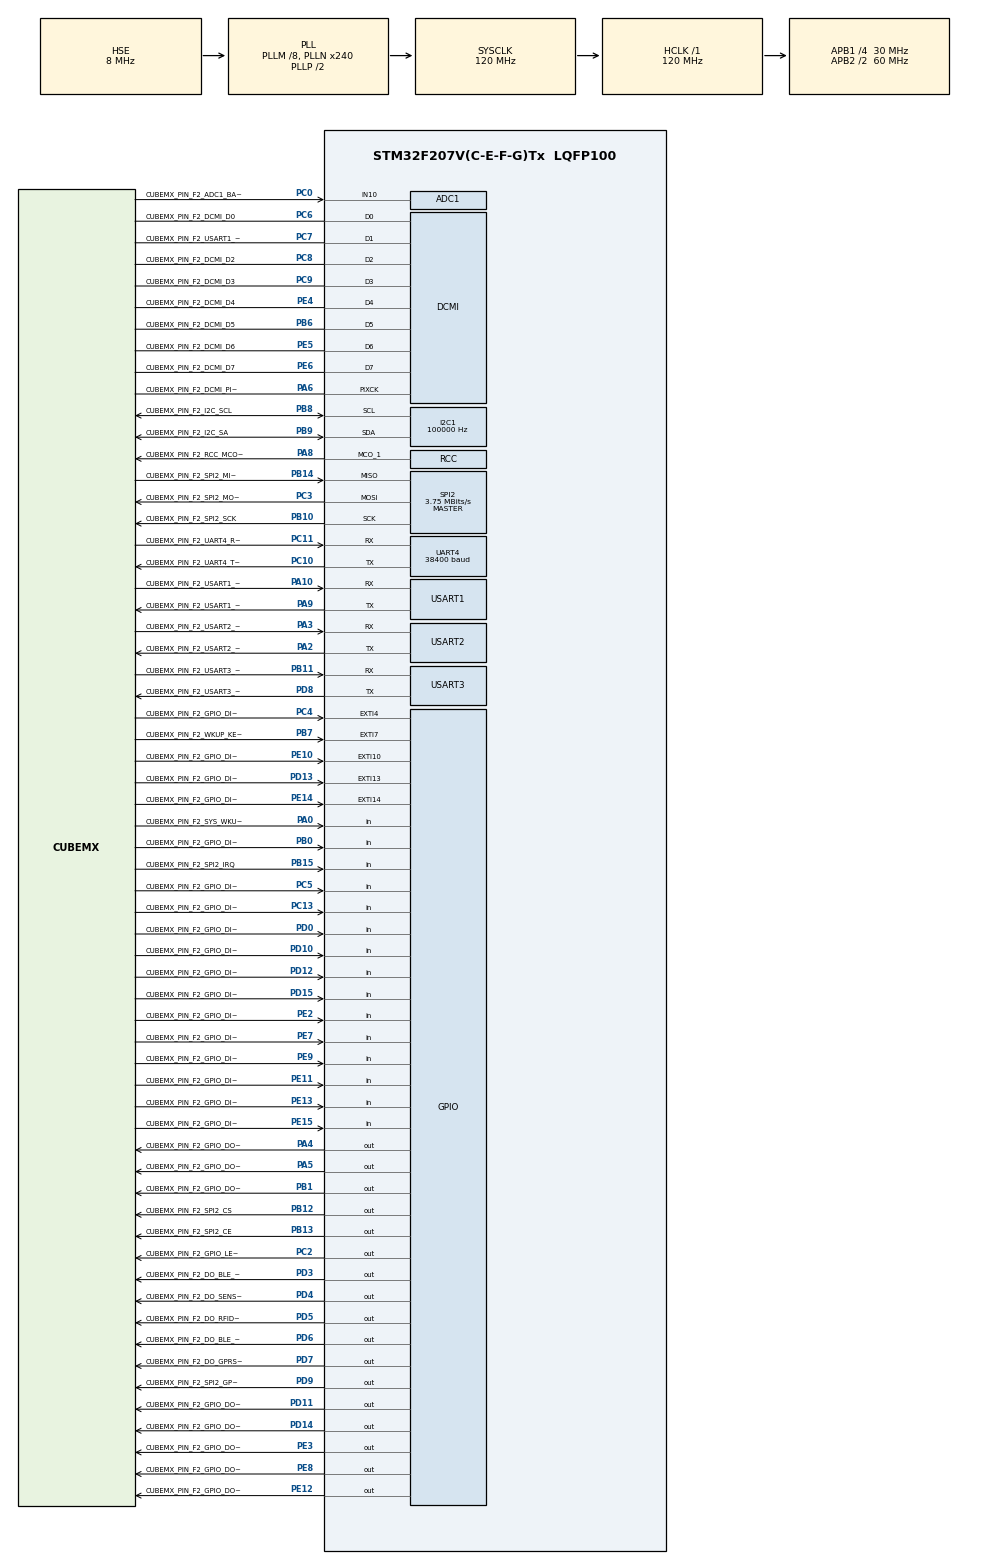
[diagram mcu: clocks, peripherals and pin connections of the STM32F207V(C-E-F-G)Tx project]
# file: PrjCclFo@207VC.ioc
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ADC1.Channel-4\#ChannelRegularConversion=ADC_CHANNEL_10
ADC1.ClockPrescaler=ADC_CLOCK_SYNC_PCLK_DIV2
ADC1.ContinuousConvMode=DISABLE
ADC1.DMAContinuousRequests=DISABLE
ADC1.DataAlign=ADC_DATAALIGN_RIGHT
ADC1.DiscontinuousConvMode=DISABLE
ADC1.EOCSelection=ADC_EOC_SEQ_CONV
ADC1.EnableAnalogWatchDog=false
ADC1.ExternalTrigConvEdge=ADC_EXTERNALTRIGCONVEDGE_NONE
ADC1.InjNumberOfConversion=0
ADC1.NbrOfConversion=1
ADC1.NbrOfConversionFlag=1
ADC1.Rank-4\#ChannelRegularConversion=1
ADC1.Resolution=ADC_RESOLUTION_12B
ADC1.SamplingTime-4\#ChannelRegularConversion=ADC_SAMPLETIME_3CYCLES
ADC1.ScanConvMode=DISABLE
ADC1.master=1
DCMI.JPEGMode=DCMI_JPEG_DISABLE
FREERTOS.INCLUDE_eTaskGetState=1
FREERTOS.INCLUDE_pcTaskGetTaskName=1
FREERTOS.INCLUDE_vTaskCleanUpResources=1
FREERTOS.Queues01=myQueue01,16,uint16_t,NULL
FREERTOS.Tasks01=defaultTask,0,512,StartDefaultTask,Default;myTask02,0,512,StartTask02,Default
FREERTOS.Timers01=myTimer01,Callback01,osTimerPeriodic,Default
FREERTOS.configCHECK_FOR_STACK_OVERFLOW=2
FREERTOS.configGENERATE_RUN_TIME_STATS=1
FREERTOS.configMAX_PRIORITIES=31
FREERTOS.configMAX_TASK_NAME_LEN=24
FREERTOS.configMINIMAL_STACK_SIZE=256
FREERTOS.configQUEUE_REGISTRY_SIZE=4
FREERTOS.configTOTAL_HEAP_SIZE=0xAC00
FREERTOS.configUSE_COUNTING_SEMAPHORES=1
FREERTOS.configUSE_IDLE_HOOK=1
FREERTOS.configUSE_MALLOC_FAILED_HOOK=1
FREERTOS.configUSE_PORT_OPTIMISED_TASK_SELECTION=1
FREERTOS.configUSE_RECURSIVE_MUTEXES=1
FREERTOS.configUSE_TICKLESS_IDLE=1
FREERTOS.configUSE_TICK_HOOK=1
FREERTOS.configUSE_TIMERS=1
I2C1.ClockSpeed=100000
I2C1.I2C_Mode=I2C_Standard
I2C1.OwnAddress=0
Mcu.Family=STM32F2
Mcu.Name=STM32F207V(C-E-F-G)Tx
Mcu.Package=LQFP100
NVIC.DCMI_IRQn=true\:0\:0\:false\:false\:true\:false
NVIC.EXTI9_5_IRQn=true\:5\:0\:false\:false\:true\:true
NVIC.PriorityGroup=NVIC_PRIORITYGROUP_4
NVIC.TIM1_UP_TIM10_IRQn=true\:0\:0\:false\:false\:true\:false
NVIC.TimeBase=TIM1_UP_TIM10_IRQn
NVIC.TimeBaseIP=TIM1
NVIC.UART4_IRQn=true\:5\:0\:false\:true\:true\:3\:true
NVIC.USART1_IRQn=true\:5\:0\:true\:false\:true\:true
NVIC.USART2_IRQn=true\:5\:0\:false\:true\:true\:1\:true
NVIC.USART3_IRQn=true\:5\:0\:false\:true\:true\:2\:true
PA0-WKUP.GPIO_Label=CUBEMX_PIN_F2_SYS_WKUP_KEY1
PA0-WKUP.GPIO_PuPd=GPIO_PULLDOWN
PA0-WKUP.Signal=GPIO_Input
PA10.GPIO_Label=CUBEMX_PIN_F2_USART1_RX_GPRS
PA10.Mode=Asynchronous
PA10.Signal=USART1_RX
PA13.GPIO_Label=CUBEMX_PIN_F2_SYS_JTMS_SWIDO
PA13.Mode=JTAG_5_pins
PA13.Signal=SYS_JTMS-SWDIO
PA14.GPIO_Label=CUBEMX_PIN_F2_SYS_JTCK_SWCLK
PA14.Mode=JTAG_5_pins
PA14.Signal=SYS_JTCK-SWCLK
PA15.GPIO_Label=CUBEMX_PIN_F2_SYS_JDTI
PA15.Mode=JTAG_5_pins
PA15.Signal=SYS_JTDI
PA2.GPIO_Label=CUBEMX_PIN_F2_USART2_TX_RFID
PA2.Mode=Asynchronous
PA2.Signal=USART2_TX
PA3.GPIO_Label=CUBEMX_PIN_F2_USART2_RX_RFID
PA3.Mode=Asynchronous
PA3.Signal=USART2_RX
PA4.GPIO_Label=CUBEMX_PIN_F2_GPIO_DO_LED_WORK_STATE
PA4.Signal=GPIO_Output
PA5.GPIO_Label=CUBEMX_PIN_F2_GPIO_DO_LED_COMMU
PA5.Signal=GPIO_Output
PA6.GPIO_Label=CUBEMX_PIN_F2_DCMI_PIXCK
PA6.Mode=Slave_8_bits_Embedded_Synchro
PA6.Signal=DCMI_PIXCK
PA8.GPIO_Label=CUBEMX_PIN_F2_RCC_MCO_1
PA8.GPIO_Speed=GPIO_SPEED_FREQ_VERY_HIGH
PA8.Mode=Clock-out-1
PA8.Signal=RCC_MCO_1
PA9.GPIO_Label=CUBEMX_PIN_F2_USART1_TX_GPRS
PA9.Mode=Asynchronous
PA9.Signal=USART1_TX
PB0.GPIO_Label=CUBEMX_PIN_F2_GPIO_DI_LOCK1_DI2_TONGUE
PB0.Signal=GPIO_Input
PB1.GPIO_Label=CUBEMX_PIN_F2_GPIO_DO_LOCK1_DO1
PB1.Signal=GPIO_Output
PB10.GPIO_Label=CUBEMX_PIN_F2_SPI2_SCK
PB10.Mode=Full_Duplex_Master
PB10.Signal=SPI2_SCK
PB11.GPIO_Label=CUBEMX_PIN_F2_USART3_RX_PRINT
PB11.Mode=Asynchronous
PB11.Signal=USART3_RX
PB12.GPIO_Label=CUBEMX_PIN_F2_SPI2_CS
PB12.GPIO_Speed=GPIO_SPEED_FREQ_MEDIUM
PB12.PinState=GPIO_PIN_SET
PB12.Signal=GPIO_Output
PB13.GPIO_Label=CUBEMX_PIN_F2_SPI2_CE
PB13.GPIO_Speed=GPIO_SPEED_FREQ_MEDIUM
PB13.PinState=GPIO_PIN_SET
PB13.Signal=GPIO_Output
PB14.GPIO_Label=CUBEMX_PIN_F2_SPI2_MISO
PB14.Mode=Full_Duplex_Master
PB14.Signal=SPI2_MISO
PB15.GPIO_Label=CUBEMX_PIN_F2_SPI2_IRQ
PB15.Signal=GPIO_Input
PB3.GPIO_Label=CUBEMX_PIN_F2_SYS_JTDO_SWO
PB3.Mode=JTAG_5_pins
PB3.Signal=SYS_JTDO-SWO
PB4.GPIO_Label=CUBEMX_PIN_F2_SYS_JTRST
PB4.Mode=JTAG_5_pins
PB4.Signal=SYS_JTRST
PB6.GPIO_Label=CUBEMX_PIN_F2_DCMI_D5
PB6.Mode=Slave_8_bits_Embedded_Synchro
PB6.Signal=DCMI_D5
PB7.GPIO_Label=CUBEMX_PIN_F2_WKUP_KEY2
PB7.GPIO_ModeDefaultEXTI=GPIO_MODE_IT_FALLING
PB7.GPIO_PuPd=GPIO_PULLUP
PB7.Signal=GPXTI7
PB8.GPIO_Label=CUBEMX_PIN_F2_I2C_SCL
PB8.GPIO_PuPdOD=GPIO_NOPULL
PB8.GPIO_Speed=GPIO_SPEED_FREQ_HIGH
PB8.Mode=I2C
PB8.Signal=I2C1_SCL
PB9.GPIO_Label=CUBEMX_PIN_F2_I2C_SA
PB9.GPIO_PuPdOD=GPIO_NOPULL
PB9.GPIO_Speed=GPIO_SPEED_FREQ_HIGH
PB9.Mode=I2C
PB9.Signal=I2C1_SDA
PC0.GPIO_Label=CUBEMX_PIN_F2_ADC1_BATTERY_SNESOR
PC0.Signal=ADCx_IN10
PC10.GPIO_Label=CUBEMX_PIN_F2_UART4_TX_BLE
PC10.Mode=Asynchronous
PC10.Signal=UART4_TX
PC11.GPIO_Label=CUBEMX_PIN_F2_UART4_RX_BLE
PC11.Mode=Asynchronous
PC11.Signal=UART4_RX
PC13.GPIO_Label=CUBEMX_PIN_F2_GPIO_DI_FALL_SNESOR
PC13.Signal=GPIO_Input
PC14-OSC32_IN.GPIO_Label=CUBEMX_PIN_F2_RCC_OS32_IN
PC14-OSC32_IN.Mode=LSE-External-Oscillator
PC14-OSC32_IN.Signal=RCC_OSC32_IN
PC15-OSC32_OUT.GPIO_Label=CUBEMX_PIN_F2_RCC_OSC32_OUT
PC15-OSC32_OUT.Mode=LSE-External-Oscillator
PC15-OSC32_OUT.Signal=RCC_OSC32_OUT
PC2.GPIO_Label=CUBEMX_PIN_F2_GPIO_LED_207VC_TEST
PC2.Signal=GPIO_Output
PC3.GPIO_Label=CUBEMX_PIN_F2_SPI2_MOSI
PC3.Mode=Full_Duplex_Master
PC3.Signal=SPI2_MOSI
PC4.GPIO_Label=CUBEMX_PIN_F2_GPIO_DI_LOCK1_DI1_TRIGGER
PC4.Signal=GPXTI4
PC5.GPIO_Label=CUBEMX_PIN_F2_GPIO_DI_DOOR1_RESTRICTION
PC5.Signal=GPIO_Input
PC6.GPIO_Label=CUBEMX_PIN_F2_DCMI_D0
PC6.Mode=Slave_8_bits_Embedded_Synchro
PC6.Signal=DCMI_D0
PC7.GPIO_Label=CUBEMX_PIN_F2_USART1_RX_GPRS
PC7.Mode=Slave_8_bits_Embedded_Synchro
PC7.Signal=DCMI_D1
PC8.GPIO_Label=CUBEMX_PIN_F2_DCMI_D2
PC8.Mode=Slave_8_bits_Embedded_Synchro
PC8.Signal=DCMI_D2
PC9.GPIO_Label=CUBEMX_PIN_F2_DCMI_D3
PC9.Mode=Slave_8_bits_Embedded_Synchro
PC9.Signal=DCMI_D3
PD0.GPIO_Label=CUBEMX_PIN_F2_GPIO_DI_WATER_SENSOR
PD0.Signal=GPIO_Input
PD10.GPIO_Label=CUBEMX_PIN_F2_GPIO_DI_DOOR4_RESTRICTION
PD10.Signal=GPIO_Input
PD11.GPIO_Label=CUBEMX_PIN_F2_GPIO_DO_LOCK4_DO1
PD11.Signal=GPIO_Output
PD12.GPIO_Label=CUBEMX_PIN_F2_GPIO_DI_LOCK4_DI2_TONGUE
PD12.Signal=GPIO_Input
PD13.GPIO_Label=CUBEMX_PIN_F2_GPIO_DI_LOCK4_DI1_TRIGGER
PD13.Signal=GPXTI13
PD14.GPIO_Label=CUBEMX_PIN_F2_GPIO_DO_BEEP
PD14.Signal=GPIO_Output
PD15.GPIO_Label=CUBEMX_PIN_F2_GPIO_DI_SMOKE_SENSOR
PD15.Signal=GPIO_Input
PD3.GPIO_Label=CUBEMX_PIN_F2_DO_BLE_ATCMD
PD3.Signal=GPIO_Output
PD4.GPIO_Label=CUBEMX_PIN_F2_DO_SENSOR_PWR
PD4.Signal=GPIO_Output
PD5.GPIO_Label=CUBEMX_PIN_F2_DO_RFID_PWR
PD5.Signal=GPIO_Output
PD6.GPIO_Label=CUBEMX_PIN_F2_DO_BLE_PWR
PD6.Signal=GPIO_Output
PD7.GPIO_Label=CUBEMX_PIN_F2_DO_GPRSMOD_PWR
PD7.Signal=GPIO_Output
PD8.GPIO_Label=CUBEMX_PIN_F2_USART3_TX_PRINT
PD8.Mode=Asynchronous
PD8.Signal=USART3_TX
PD9.GPIO_Label=CUBEMX_PIN_F2_SPI2_GPIO_RST
PD9.GPIO_Speed=GPIO_SPEED_FREQ_MEDIUM
PD9.PinState=GPIO_PIN_SET
PD9.Signal=GPIO_Output
PE10.GPIO_Label=CUBEMX_PIN_F2_GPIO_DI_LOCK3_DI1_TRIGGER
PE10.Signal=GPXTI10
PE11.GPIO_Label=CUBEMX_PIN_F2_GPIO_DI_DOOR2_RESTRICTION
PE11.Signal=GPIO_Input
PE12.GPIO_Label=CUBEMX_PIN_F2_GPIO_DO_LOCK2_DO1
PE12.Signal=GPIO_Output
PE13.GPIO_Label=CUBEMX_PIN_F2_GPIO_DI_LOCK2_DI2_TONGUE
PE13.Signal=GPIO_Input
PE14.GPIO_Label=CUBEMX_PIN_F2_GPIO_DI_LOCK2_DI1_TRIGGER
PE14.Signal=GPXTI14
PE15.GPIO_Label=CUBEMX_PIN_F2_GPIO_DI_SHAKE_SENSOR
PE15.Signal=GPIO_Input
PE2.GPIO_Label=CUBEMX_PIN_F2_GPIO_DI_DHT11
PE2.Signal=GPIO_Input
PE3.GPIO_Label=CUBEMX_PIN_F2_GPIO_DO_LED_POWER
PE3.Signal=GPIO_Output
PE4.GPIO_Label=CUBEMX_PIN_F2_DCMI_D4
PE4.Mode=Slave_8_bits_Embedded_Synchro
PE4.Signal=DCMI_D4
PE5.GPIO_Label=CUBEMX_PIN_F2_DCMI_D6
PE5.Mode=Slave_8_bits_Embedded_Synchro
PE5.Signal=DCMI_D6
PE6.GPIO_Label=CUBEMX_PIN_F2_DCMI_D7
PE6.Mode=Slave_8_bits_Embedded_Synchro
PE6.Signal=DCMI_D7
PE7.GPIO_Label=CUBEMX_PIN_F2_GPIO_DI_DOOR3_RESTRICTION
PE7.Signal=GPIO_Input
PE8.GPIO_Label=CUBEMX_PIN_F2_GPIO_DO_LOCK3_DO1
PE8.Signal=GPIO_Output
PE9.GPIO_Label=CUBEMX_PIN_F2_GPIO_DI_LOCK3_DI2_TONGUE
PE9.Signal=GPIO_Input
PH0-OSC_IN.GPIO_Label=CUBEMX_PIN_F2_RCC_OSC_IN
PH0-OSC_IN.Mode=HSE-External-Oscillator
PH0-OSC_IN.Signal=RCC_OSC_IN
PH1-OSC_OUT.GPIO_Label=CUBEMX_PIN_F2_RCC_OSC_OUT
PH1-OSC_OUT.Mode=HSE-External-Oscillator
PH1-OSC_OUT.Signal=RCC_OSC_OUT
ProjectManager.HeapSize=0x200
ProjectManager.StackSize=0x400
ProjectManager.TargetToolchain=MDK-ARM V5
RCC.48MHZClocksFreq_Value=60000000
RCC.AHBFreq_Value=120000000
RCC.APB1CLKDivider=RCC_HCLK_DIV4
RCC.APB1Freq_Value=30000000
RCC.APB1TimFreq_Value=60000000
RCC.APB2CLKDivider=RCC_HCLK_DIV2
RCC.APB2Freq_Value=60000000
RCC.APB2TimFreq_Value=120000000
RCC.CortexFreq_Value=120000000
RCC.HCLKFreq_Value=120000000
RCC.HSE_VALUE=8000000
RCC.HSI_VALUE=16000000
RCC.PLLM=8
RCC.PLLN=240
RCC.PLLSourceVirtual=RCC_PLLSOURCE_HSE
RCC.RCC_MCO1Source=RCC_MCO1SOURCE_PLLCLK
RCC.RCC_MCODiv1=RCC_MCODIV_4
RCC.RCC_RTC_Clock_Source=RCC_RTCCLKSOURCE_LSI
RCC.RCC_RTC_Clock_SourceVirtual=RCC_RTCCLKSOURCE_LSE
RCC.SYSCLKFreq_VALUE=120000000
RCC.SYSCLKSource=RCC_SYSCLKSOURCE_PLLCLK
RCC.VCOOutputFreq_Value=240000000
RTC.Date=2
RTC.Hours=21
RTC.Minutes=20
RTC.Seconds=40
RTC.Year=17
SH.ADCx_IN10.0=ADC1_IN10,IN10
SPI2.BaudRatePrescaler=SPI_BAUDRATEPRESCALER_8
SPI2.CLKPhase=SPI_PHASE_1EDGE
SPI2.CLKPolarity=SPI_POLARITY_LOW
SPI2.CRCCalculation=SPI_CRCCALCULATION_DISABLE
SPI2.CalculateBaudRate=3.75 MBits/s
SPI2.Mode=SPI_MODE_MASTER
UART4.BaudRate=38400
VP_FREERTOS_VS_ENABLE.Mode=Enabled
VP_RTC_VS_RTC_Activate.Mode=RTC_Enabled
VP_RTC_VS_RTC_Calendar.Mode=RTC_Calendar
VP_SYS_VS_tim1.Mode=TIM1
board=PrjCclFo@207VC

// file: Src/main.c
/**
  ******************************************************************************
  * File Name          : main.c
  * Description        : Main program body
  ******************************************************************************
  *
  * Copyright (c) 2017 STMicroelectronics International N.V.
  * All rights reserved.
  *
  * Redistribution and use in source and binary forms, with or without
  * modification, are permitted, provided that the following conditions are met:
  *
  * 1. Redistribution of source code must retain the above copyright notice,
  *    this list of conditions and the following disclaimer.
  * 2. Redistributions in binary form must reproduce the above copyright notice,
  *    this list of conditions and the following disclaimer in the documentation
  *    and/or other materials provided with the distribution.
  * 3. Neither the name of STMicroelectronics nor the names of other
  *    contributors to this software may be used to endorse or promote products
  *    derived from this software without specific written permission.
  * 4. This software, including modifications and/or derivative works of this
  *    software, must execute solely and exclusively on microcontroller or
  *    microprocessor devices manufactured by or for STMicroelectronics.
  * 5. Redistribution and use of this software other than as permitted under
  *    this license is void and will automatically terminate your rights under
  *    this license.
  *
  * THIS SOFTWARE IS PROVIDED BY STMICROELECTRONICS AND CONTRIBUTORS "AS IS"
  * AND ANY EXPRESS, IMPLIED OR STATUTORY WARRANTIES, INCLUDING, BUT NOT
  * LIMITED TO, THE IMPLIED WARRANTIES OF MERCHANTABILITY, FITNESS FOR A
  * PARTICULAR PURPOSE AND NON-INFRINGEMENT OF THIRD PARTY INTELLECTUAL PROPERTY
  * RIGHTS ARE DISCLAIMED TO THE FULLEST EXTENT PERMITTED BY LAW. IN NO EVENT
  * SHALL STMICROELECTRONICS OR CONTRIBUTORS BE LIABLE FOR ANY DIRECT, INDIRECT,
  * INCIDENTAL, SPECIAL, EXEMPLARY, OR CONSEQUENTIAL DAMAGES (INCLUDING, BUT NOT
  * LIMITED TO, PROCUREMENT OF SUBSTITUTE GOODS OR SERVICES; LOSS OF USE, DATA,
  * OR PROFITS; OR BUSINESS INTERRUPTION) HOWEVER CAUSED AND ON ANY THEORY OF
  * LIABILITY, WHETHER IN CONTRACT, STRICT LIABILITY, OR TORT (INCLUDING
  * NEGLIGENCE OR OTHERWISE) ARISING IN ANY WAY OUT OF THE USE OF THIS SOFTWARE,
  * EVEN IF ADVISED OF THE POSSIBILITY OF SUCH DAMAGE.
  *
  ******************************************************************************
  */
#include "main.h"
#include "stm32f2xx_hal.h"
#include "cmsis_os.h"
#include "adc.h"
#include "dcmi.h"
#include "i2c.h"
#include "rtc.h"
#include "spi.h"
#include "usart.h"
#include "gpio.h"

/* USER CODE BEGIN PV */
/* Private variables ---------------------------------------------------------*/
uint8_t zIhuUartRxBuffer[6];
uint8_t zIhuSpiRxBuffer[2];
uint8_t zIhuI2cRxBuffer[2];

/* USER CODE END PV */

void SystemClock_Config(void);
void Error_Handler(void);
void MX_FREERTOS_Init(void);
static void MX_NVIC_Init(void);

/* USER CODE BEGIN PFP */
/* Private function prototypes -----------------------------------------------*/

/* USER CODE END PFP */

int main(void)
{

  /* MCU Configuration----------------------------------------------------------*/

  /* Reset of all peripherals, Initializes the Flash interface and the Systick. */
  HAL_Init();

  /* Configure the system clock */
  SystemClock_Config();

  /* Initialize all configured peripherals */
  MX_GPIO_Init();
  MX_I2C1_Init();
  MX_UART4_Init();
  MX_USART1_UART_Init();
  MX_USART2_UART_Init();
  MX_USART3_UART_Init();
  MX_RTC_Init();
  MX_DCMI_Init();
  MX_ADC1_Init();
  MX_SPI2_Init();

  /* Initialize interrupts */
  MX_NVIC_Init();

  /* USER CODE BEGIN 2 */
  HAL_UART_Receive_IT(&huart1,&zIhuUartRxBuffer[0],1);
  HAL_UART_Receive_IT(&huart2,&zIhuUartRxBuffer[1],1);
  HAL_UART_Receive_IT(&huart3,&zIhuUartRxBuffer[2],1);
  HAL_UART_Receive_IT(&huart4,&zIhuUartRxBuffer[3],1);
  //HAL_UART_Receive_IT(&huart5,&zIhuUartRxBuffer[4],1);
  //HAL_UART_Receive_IT(&huart6,&zIhuUartRxBuffer[5],1);
  //HAL_SPI_Receive_IT(&hspi1,&zIhuSpiRxBuffer[0],1);
  HAL_SPI_Receive_IT(&hspi2,&zIhuSpiRxBuffer[1],1);
#if (BSP_STM32_I2C_WORK_MODE_CHOICE == BSP_STM32_I2C_WORK_MODE_IAU)
  HAL_I2C_Slave_Receive_IT(&hi2c1, &zIhuI2cRxBuffer[0], 1);
#elif (BSP_STM32_I2C_WORK_MODE_CHOICE == BSP_STM32_I2C_WORK_MODE_MPU6050)
	HAL_I2C_Master_Receive_IT(&hi2c1, (uint16_t)IHU_BSP_STM32_I2C_MPU6050_SENSOR_SLAVE_ADDRESS, &zIhuI2cRxBuffer[0], 1);
#elif (BSP_STM32_I2C_WORK_MODE_CHOICE == BSP_STM32_I2C_WORK_MODE_CCL_SENSOR)
	HAL_I2C_Master_Receive_IT(&hi2c1, (uint16_t)IHU_BSP_STM32_I2C_CCL_SENSOR_SLAVE_ADDRESS, &zIhuI2cRxBuffer[0], 1);
#endif
  //HAL_CAN_Receive_IT(&hcan1, 0);
  //HAL_CAN_Receive_IT(&hcan2, 1);

  /* USER CODE END 2 */

  /* Call init function for freertos objects (in freertos.c) */
  MX_FREERTOS_Init();

  /* Start scheduler */
  osKernelStart();

  /* We should never get here as control is now taken by the scheduler */

  /* Infinite loop */
  while (1)
  {

  }

}

/** System Clock Configuration
*/
void SystemClock_Config(void)
{

  RCC_OscInitTypeDef RCC_OscInitStruct;
  RCC_ClkInitTypeDef RCC_ClkInitStruct;
  RCC_PeriphCLKInitTypeDef PeriphClkInitStruct;

    /**Initializes the CPU, AHB and APB busses clocks
    */
  RCC_OscInitStruct.OscillatorType = RCC_OSCILLATORTYPE_LSI|RCC_OSCILLATORTYPE_HSE;
  RCC_OscInitStruct.HSEState = RCC_HSE_ON;
  RCC_OscInitStruct.LSIState = RCC_LSI_ON;
  RCC_OscInitStruct.PLL.PLLState = RCC_PLL_ON;
  RCC_OscInitStruct.PLL.PLLSource = RCC_PLLSOURCE_HSE;
  RCC_OscInitStruct.PLL.PLLM = 8;
  RCC_OscInitStruct.PLL.PLLN = 240;
  RCC_OscInitStruct.PLL.PLLP = RCC_PLLP_DIV2;
  RCC_OscInitStruct.PLL.PLLQ = 4;
  if (HAL_RCC_OscConfig(&RCC_OscInitStruct) != HAL_OK)
  {
    Error_Handler();
  }

    /**Initializes the CPU, AHB and APB busses clocks
    */
  RCC_ClkInitStruct.ClockType = RCC_CLOCKTYPE_HCLK|RCC_CLOCKTYPE_SYSCLK
                              |RCC_CLOCKTYPE_PCLK1|RCC_CLOCKTYPE_PCLK2;
  RCC_ClkInitStruct.SYSCLKSource = RCC_SYSCLKSOURCE_PLLCLK;
  RCC_ClkInitStruct.AHBCLKDivider = RCC_SYSCLK_DIV1;
  RCC_ClkInitStruct.APB1CLKDivider = RCC_HCLK_DIV4;
  RCC_ClkInitStruct.APB2CLKDivider = RCC_HCLK_DIV2;

  if (HAL_RCC_ClockConfig(&RCC_ClkInitStruct, FLASH_LATENCY_3) != HAL_OK)
  {
    Error_Handler();
  }

  PeriphClkInitStruct.PeriphClockSelection = RCC_PERIPHCLK_RTC;
  PeriphClkInitStruct.RTCClockSelection = RCC_RTCCLKSOURCE_LSI;
  if (HAL_RCCEx_PeriphCLKConfig(&PeriphClkInitStruct) != HAL_OK)
  {
    Error_Handler();
  }

  HAL_RCC_MCOConfig(RCC_MCO1, RCC_MCO1SOURCE_PLLCLK, RCC_MCODIV_4);

    /**Configure the Systick interrupt time
    */
  HAL_SYSTICK_Config(HAL_RCC_GetHCLKFreq()/1000);

    /**Configure the Systick
    */
  HAL_SYSTICK_CLKSourceConfig(SYSTICK_CLKSOURCE_HCLK);

  /* SysTick_IRQn interrupt configuration */
  HAL_NVIC_SetPriority(SysTick_IRQn, 15, 0);
}

/** NVIC Configuration
*/
static void MX_NVIC_Init(void)
{
  /* USART2_IRQn interrupt configuration */
  HAL_NVIC_SetPriority(USART2_IRQn, 5, 0);
  HAL_NVIC_EnableIRQ(USART2_IRQn);
  /* USART3_IRQn interrupt configuration */
  HAL_NVIC_SetPriority(USART3_IRQn, 5, 0);
  HAL_NVIC_EnableIRQ(USART3_IRQn);
  /* UART4_IRQn interrupt configuration */
  HAL_NVIC_SetPriority(UART4_IRQn, 5, 0);
  HAL_NVIC_EnableIRQ(UART4_IRQn);
}

/* USER CODE BEGIN 4 */
//As this function has to call MX_I2C1_Init(), we have to put this function into MAIN module, otherwise the include
//relationship is too much complex.
void I2C_BSP_STM32_MPU6050_Error (void)
{
  HAL_I2C_DeInit(&hi2c1);
  MX_I2C1_Init();
}

/* USER CODE END 4 */

void HAL_TIM_PeriodElapsedCallback(TIM_HandleTypeDef *htim)
{
  if (htim->Instance == TIM1) {
    HAL_IncTick();
  }
}

void Error_Handler(void)
{
  /* USER CODE BEGIN Error_Handler */
  /* User can add his own implementation to report the HAL error return state */
//	IhuErrorPrint("VMFO: Fatal error occured, but still move forward as test purposed!");
  while(1)
  {
  }
  /* USER CODE END Error_Handler */
}

/************************ (C) COPYRIGHT STMicroelectronics *****END OF FILE****/

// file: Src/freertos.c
/**
  ******************************************************************************
  * File Name          : freertos.c
  * Description        : Code for freertos applications
  ******************************************************************************
  *
  * Copyright (c) 2017 STMicroelectronics International N.V.
  * All rights reserved.
  *
  * Redistribution and use in source and binary forms, with or without
  * modification, are permitted, provided that the following conditions are met:
  *
  * 1. Redistribution of source code must retain the above copyright notice,
  *    this list of conditions and the following disclaimer.
  * 2. Redistributions in binary form must reproduce the above copyright notice,
  *    this list of conditions and the following disclaimer in the documentation
  *    and/or other materials provided with the distribution.
  * 3. Neither the name of STMicroelectronics nor the names of other
  *    contributors to this software may be used to endorse or promote products
  *    derived from this software without specific written permission.
  * 4. This software, including modifications and/or derivative works of this
  *    software, must execute solely and exclusively on microcontroller or
  *    microprocessor devices manufactured by or for STMicroelectronics.
  * 5. Redistribution and use of this software other than as permitted under
  *    this license is void and will automatically terminate your rights under
  *    this license.
  *
  * THIS SOFTWARE IS PROVIDED BY STMICROELECTRONICS AND CONTRIBUTORS "AS IS"
  * AND ANY EXPRESS, IMPLIED OR STATUTORY WARRANTIES, INCLUDING, BUT NOT
  * LIMITED TO, THE IMPLIED WARRANTIES OF MERCHANTABILITY, FITNESS FOR A
  * PARTICULAR PURPOSE AND NON-INFRINGEMENT OF THIRD PARTY INTELLECTUAL PROPERTY
  * RIGHTS ARE DISCLAIMED TO THE FULLEST EXTENT PERMITTED BY LAW. IN NO EVENT
  * SHALL STMICROELECTRONICS OR CONTRIBUTORS BE LIABLE FOR ANY DIRECT, INDIRECT,
  * INCIDENTAL, SPECIAL, EXEMPLARY, OR CONSEQUENTIAL DAMAGES (INCLUDING, BUT NOT
  * LIMITED TO, PROCUREMENT OF SUBSTITUTE GOODS OR SERVICES; LOSS OF USE, DATA,
  * OR PROFITS; OR BUSINESS INTERRUPTION) HOWEVER CAUSED AND ON ANY THEORY OF
  * LIABILITY, WHETHER IN CONTRACT, STRICT LIABILITY, OR TORT (INCLUDING
  * NEGLIGENCE OR OTHERWISE) ARISING IN ANY WAY OUT OF THE USE OF THIS SOFTWARE,
  * EVEN IF ADVISED OF THE POSSIBILITY OF SUCH DAMAGE.
  *
  ******************************************************************************
  */

#include "FreeRTOS.h"
#include "task.h"
#include "cmsis_os.h"

/* USER CODE BEGIN Includes */
#include "vmfreeoslayer.h"

/* USER CODE END Includes */

osThreadId defaultTaskHandle;
osThreadId myTask02Handle;
osMessageQId myQueue01Handle;
osTimerId myTimer01Handle;

void StartDefaultTask(void const * argument);
void StartTask02(void const * argument);
void Callback01(void const * argument);

void MX_FREERTOS_Init(void); /* (MISRA C 2004 rule 8.1) */

/* Pre/Post sleep processing prototypes */
void PreSleepProcessing(uint32_t *ulExpectedIdleTime);
void PostSleepProcessing(uint32_t *ulExpectedIdleTime);

/* Hook prototypes */
void configureTimerForRunTimeStats(void);
unsigned long getRunTimeCounterValue(void);
void vApplicationIdleHook(void);
void vApplicationTickHook(void);
void vApplicationStackOverflowHook(xTaskHandle xTask, signed char *pcTaskName);
void vApplicationMallocFailedHook(void);

/* USER CODE BEGIN 1 */
/* Functions needed when configGENERATE_RUN_TIME_STATS is on */
void configureTimerForRunTimeStats(void)
{

}

unsigned long getRunTimeCounterValue(void)
{
return 0;
}
/* USER CODE END 1 */

/* USER CODE BEGIN 2 */
void vApplicationIdleHook( void )
{
   /* vApplicationIdleHook() will only be called if configUSE_IDLE_HOOK is set
   to 1 in FreeRTOSConfig.h. It will be called on each iteration of the idle
   task. It is essential that code added to this hook function never attempts
   to block in any way (for example, call xQueueReceive() with a block time
   specified, or call vTaskDelay()). If the application makes use of the
   vTaskDelete() API function (as this demo application does) then it is also
   important that vApplicationIdleHook() is permitted to return to its calling
   function, because it is the responsibility of the idle task to clean up
   memory allocated by the kernel to any task that has since been deleted. */
}
/* USER CODE END 2 */

/* USER CODE BEGIN 3 */
void vApplicationTickHook( void )
{
   /* This function will be called by each tick interrupt if
   configUSE_TICK_HOOK is set to 1 in FreeRTOSConfig.h. User code can be
   added here, but the tick hook is called from an interrupt context, so
   code must not attempt to block, and only the interrupt safe FreeRTOS API
   functions can be used (those that end in FromISR()). */
}
/* USER CODE END 3 */

/* USER CODE BEGIN 4 */
void vApplicationStackOverflowHook(xTaskHandle xTask, signed char *pcTaskName)
{
   /* Run time stack overflow checking is performed if
   configCHECK_FOR_STACK_OVERFLOW is defined to 1 or 2. This hook function is
   called if a stack overflow is detected. */
}
/* USER CODE END 4 */

/* USER CODE BEGIN 5 */
void vApplicationMallocFailedHook(void)
{
   /* vApplicationMallocFailedHook() will only be called if
   configUSE_MALLOC_FAILED_HOOK is set to 1 in FreeRTOSConfig.h. It is a hook
   function that will get called if a call to pvPortMalloc() fails.
   pvPortMalloc() is called internally by the kernel whenever a task, queue,
   timer or semaphore is created. It is also called by various parts of the
   demo application. If heap_1.c or heap_2.c are used, then the size of the
   heap available to pvPortMalloc() is defined by configTOTAL_HEAP_SIZE in
   FreeRTOSConfig.h, and the xPortGetFreeHeapSize() API function can be used
   to query the size of free heap space that remains (although it does not
   provide information on how the remaining heap might be fragmented). */
}
/* USER CODE END 5 */

/* USER CODE BEGIN PREPOSTSLEEP */
void PreSleepProcessing(uint32_t *ulExpectedIdleTime)
{
/* place for user code */
}

void PostSleepProcessing(uint32_t *ulExpectedIdleTime)
{
/* place for user code */
}
/* USER CODE END PREPOSTSLEEP */

/* Init FreeRTOS */

void MX_FREERTOS_Init(void) {

  /* Create the timer(s) */
  /* definition and creation of myTimer01 */
  osTimerDef(myTimer01, Callback01);
  myTimer01Handle = osTimerCreate(osTimer(myTimer01), osTimerPeriodic, NULL);

  /* Create the thread(s) */
  /* definition and creation of defaultTask */
  osThreadDef(defaultTask, StartDefaultTask, osPriorityNormal, 0, 512);
  defaultTaskHandle = osThreadCreate(osThread(defaultTask), NULL);

  /* definition and creation of myTask02 */
  osThreadDef(myTask02, StartTask02, osPriorityNormal, 0, 512);
  myTask02Handle = osThreadCreate(osThread(myTask02), NULL);

  /* Create the queue(s) */
  /* definition and creation of myQueue01 */
  osMessageQDef(myQueue01, 16, uint16_t);
  myQueue01Handle = osMessageCreate(osMessageQ(myQueue01), NULL);

  /* USER CODE BEGIN RTOS_QUEUES */
  /* add queues, ... */

	//Self defined main task entry
	ihu_vm_main();

  /* USER CODE END RTOS_QUEUES */
}

/* StartDefaultTask function */
void StartDefaultTask(void const * argument)
{

  for(;;)
  {
    osDelay(1);
  }
}

/* StartTask02 function */
void StartTask02(void const * argument)
{
  for(;;)
  {
    osDelay(1);
  }
}

/* Callback01 function */
void Callback01(void const * argument)
{
}

/************************ (C) COPYRIGHT STMicroelectronics *****END OF FILE****/
